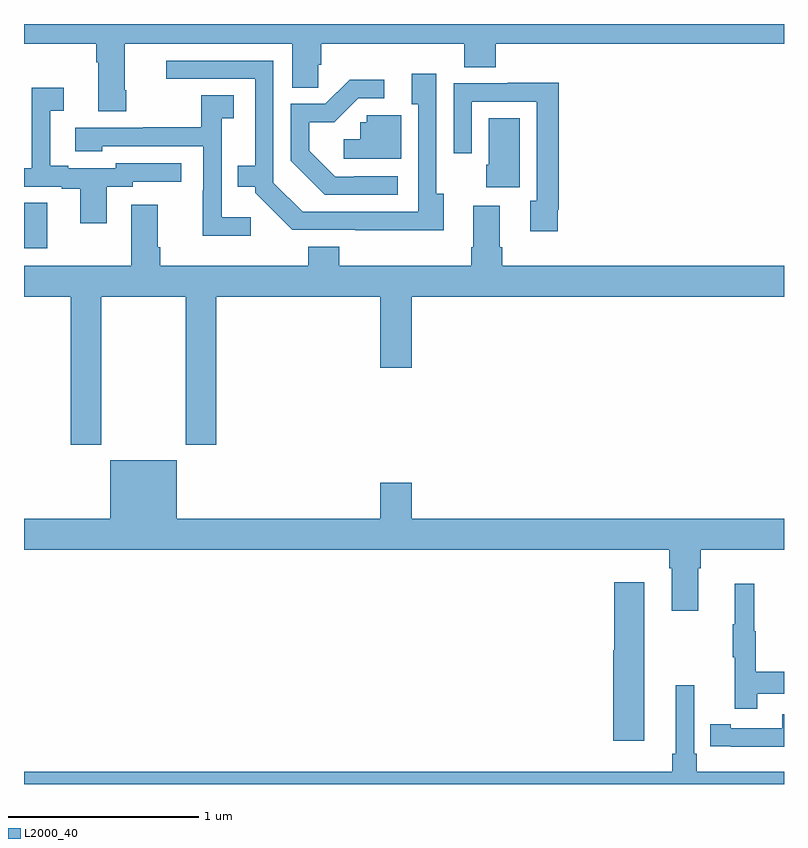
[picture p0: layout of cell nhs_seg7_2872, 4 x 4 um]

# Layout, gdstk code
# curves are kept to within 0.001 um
import gdstk
lib = gdstk.Library(unit=1e-6, precision=1e-09)
def R(c, l, rs):  # rectangles x0, y0, x1, y1
    for r in rs: c.add(gdstk.rectangle(r[:2], r[2:], *l))
def P(c, l, *ps):  # polygons
    for p in ps: c.add(gdstk.Polygon(p, *l))
L2000_40 = (2000, 40)

nhs_seg7_2872 = lib.new_cell('nhs_seg7_2872')
R(nhs_seg7_2872, L2000_40, [(295,1052.82,295.123,1053.059)])
P(nhs_seg7_2872, L2000_40, [(295,1053.896),(295.379,1053.896),(295.379,1053.8),(295.391,1053.8),(295.391,1053.54),(295.539,1053.54),(295.539,1053.652),(295.531,1053.652),(295.531,1053.896),(296.411,1053.896),(296.411,1053.664),(296.549,1053.664),(296.549,1053.786),(296.564,1053.786),(296.564,1053.896),(297.317,1053.896),(297.317,1053.772),(297.482,1053.772),(297.482,1053.896),(299,1053.896),(299,1054),(295,1054)],
  [(297.208,1053.106),(297.171,1053.106),(297.171,1053.739),(297.041,1053.739),(297.041,1053.578),(297.075,1053.578),(297.075,1053.012),(296.466,1053.012),(296.313,1053.165),(296.313,1053.807),(295.749,1053.807),(295.749,1053.711),(296.216,1053.711),(296.216,1053.253),(296.125,1053.253),(296.125,1053.143),(296.217,1053.143),(296.217,1053.111),(296.412,1052.916),(297.208,1052.915)],
  [(296.968,1053.198),(296.737,1053.198),(296.737,1053.195),(296.637,1053.195),(296.5,1053.332),(296.5,1053.482),(296.633,1053.482),(296.76,1053.609),(296.896,1053.609),(296.896,1053.707),(296.714,1053.707),(296.586,1053.579),(296.403,1053.579),(296.403,1053.281),(296.582,1053.102),(296.968,1053.102)],
  [(297.808,1053.022),(297.815,1053.022),(297.815,1053.691),(297.545,1053.691),(297.545,1053.687),(297.261,1053.687),(297.261,1053.321),(297.357,1053.321),(297.357,1053.591),(297.699,1053.591),(297.699,1053.071),(297.665,1053.071),(297.665,1052.91),(297.808,1052.91)],
  [(295.435,1053.144),(295.572,1053.144),(295.572,1053.171),(295.828,1053.171),(295.828,1053.267),(295.482,1053.267),(295.482,1053.24),(295.234,1053.24),(295.234,1053.253),(295.138,1053.253),(295.138,1053.544),(295.21,1053.544),(295.21,1053.664),(295.041,1053.664),(295.041,1053.24),(295,1053.24),(295,1053.144),(295.199,1053.144),(295.199,1053.132),(295.295,1053.132),(295.295,1052.952),(295.435,1052.952)],
  [(296.194,1052.983),(296.04,1052.983),(296.04,1053.505),(296.104,1053.505),(296.104,1053.626),(295.932,1053.626),(295.932,1053.456),(295.627,1053.456),(295.627,1053.453),(295.269,1053.453),(295.269,1053.329),(295.413,1053.329),(295.413,1053.357),(295.944,1053.357),(295.944,1053.125),(295.942,1053.125),(295.942,1052.885),(296.194,1052.885)],
  [(296.986,1053.519),(296.805,1053.519),(296.805,1053.483),(296.769,1053.483),(296.769,1053.394),(296.682,1053.394),(296.682,1053.291),(296.986,1053.291)],
  [(297.61,1053.505),(297.446,1053.505),(297.446,1053.258),(297.434,1053.258),(297.434,1053.14),(297.61,1053.14)],
  [(295.407,1052.564),(295.852,1052.564),(295.852,1051.785),(296.012,1051.785),(296.012,1052.564),(296.876,1052.564),(296.876,1052.19),(297.04,1052.19),(297.04,1052.564),(299,1052.564),(299,1052.728),(297.518,1052.728),(297.518,1052.824),(297.505,1052.824),(297.505,1053.043),(297.365,1053.043),(297.365,1052.824),(297.353,1052.824),(297.353,1052.728),(296.66,1052.728),(296.66,1052.827),(296.495,1052.827),(296.495,1052.728),(295.718,1052.728),(295.718,1052.824),(295.705,1052.824),(295.705,1053.049),(295.565,1053.049),(295.565,1052.728),(295,1052.728),(295,1052.564),(295.247,1052.564),(295.247,1051.785),(295.407,1051.785)],
  [(297.04,1051.585),(296.876,1051.585),(296.876,1051.396),(295.804,1051.396),(295.804,1051.705),(295.454,1051.705),(295.454,1051.396),(295,1051.396),(295,1051.232),(298.397,1051.232),(298.397,1051.136),(298.409,1051.136),(298.409,1050.912),(298.549,1050.912),(298.549,1051.136),(298.562,1051.136),(298.562,1051.232),(299,1051.232),(299,1051.396),(297.04,1051.396)],
  [(298.264,1051.063),(298.106,1051.063),(298.106,1050.705),(298.1,1050.705),(298.1,1050.228),(298.264,1050.228)],
  [(298.859,1050.474),(299,1050.474),(299,1050.59),(298.852,1050.59),(298.852,1050.804),(298.844,1050.804),(298.844,1051.054),(298.742,1051.054),(298.742,1050.841),(298.731,1050.841),(298.731,1050.667),(298.742,1050.667),(298.742,1050.396),(298.859,1050.396)],
  [(299,1050.064),(298.541,1050.064),(298.541,1050.16),(298.527,1050.16),(298.527,1050.52),(298.43,1050.52),(298.43,1050.16),(298.411,1050.16),(298.411,1050.064),(295,1050.064),(295,1050),(299,1050)],
  [(299,1050.366),(298.992,1050.366),(298.992,1050.294),(298.72,1050.294),(298.72,1050.314),(298.612,1050.314),(298.612,1050.198),(298.72,1050.198),(298.72,1050.197),(299,1050.197)])

lib.write_gds('nhs_seg7_2872.gds')
